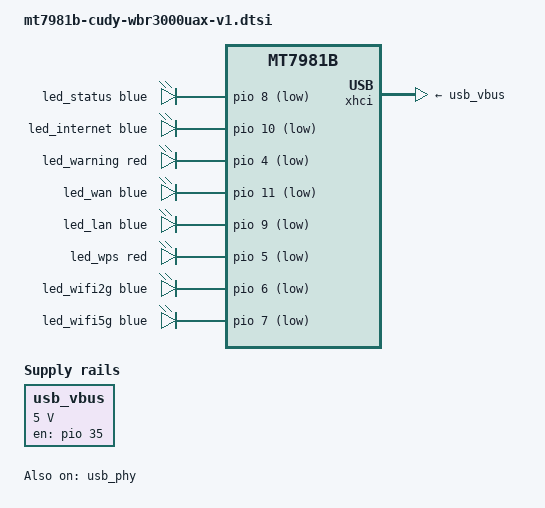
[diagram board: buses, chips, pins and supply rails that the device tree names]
// SPDX-License-Identifier: (GPL-2.0 OR MIT)

/dts-v1/;

#include "mt7981b-cudy-wr3000-nand.dtsi"

/ {
	aliases {
		label-mac-device = &gmac0;
		led-boot = &led_status;
		led-failsafe = &led_warning;
		led-running = &led_status;
		led-upgrade = &led_warning;
		serial0 = &uart0;
	};
	
	leds {
		compatible = "gpio-leds";

		led_status: led_power {
			function = LED_FUNCTION_POWER;
			color = <LED_COLOR_ID_BLUE>;
			gpios = <&pio 8 GPIO_ACTIVE_LOW>;
		};

		led_internet {
			function = LED_FUNCTION_WAN_ONLINE;
			color = <LED_COLOR_ID_BLUE>;
			gpios = <&pio 10 GPIO_ACTIVE_LOW>;
		};
		
		led_warning: led_fault {
			function = LED_FUNCTION_FAULT;
			color = <LED_COLOR_ID_RED>;
			gpios = <&pio 4 GPIO_ACTIVE_LOW>;
		};

		led_wan {
			function = LED_FUNCTION_WAN;
			color = <LED_COLOR_ID_BLUE>;
			gpios = <&pio 11 GPIO_ACTIVE_LOW>;
		};

		led_lan {
			function = LED_FUNCTION_LAN;
			color = <LED_COLOR_ID_BLUE>;
			gpios = <&pio 9 GPIO_ACTIVE_LOW>;
		};

		led_wps {
			function = LED_FUNCTION_WPS;
			color = <LED_COLOR_ID_RED>;
			gpios = <&pio 5 GPIO_ACTIVE_LOW>;
		};

		led_wifi2g {
			function = LED_FUNCTION_WLAN_2GHZ;
			color = <LED_COLOR_ID_BLUE>;
			gpios = <&pio 6 GPIO_ACTIVE_LOW>;
			linux,default-trigger = "phy0tpt";
		};

		led_wifi5g {
			function = LED_FUNCTION_WLAN_5GHZ;
			color = <LED_COLOR_ID_BLUE>;
			gpios = <&pio 7 GPIO_ACTIVE_LOW>;
			linux,default-trigger = "phy1tpt";
		};
	};

	usb_vbus: regulator-usb {
		compatible = "regulator-fixed";
		regulator-name = "usb-vbus";
		regulator-min-microvolt = <5000000>;
		regulator-max-microvolt = <5000000>;
		gpios = <&pio 35 GPIO_ACTIVE_HIGH>;
		enable-active-high;
		regulator-boot-on;
	};
};

&switch {
	ports {
		#address-cells = <1>;
		#size-cells = <0>;

		port@0 {
			reg = <0>;
			label = "wan";

			nvmem-cell-names = "mac-address";
			nvmem-cells = <&macaddr_bdinfo_de00 1>;
		};

		port@1 {
			reg = <1>;
			label = "lan1";
		};

		port@2 {
			reg = <2>;
			label = "lan2";
		};

		port@3 {
			reg = <3>;
			label = "lan3";
		};

		port@4 {
			reg = <4>;
			label = "lan4";
		};

		port@6 {
			reg = <6>;
			label = "cpu";
			ethernet = <&gmac0>;
			phy-mode = "2500base-x";

			fixed-link {
				speed = <2500>;
				full-duplex;
				pause;
			};
		};
	};
};

&usb_phy {
	status = "okay";
};

&xhci {
	status = "okay";
	vbus-supply = <&usb_vbus>;
};
